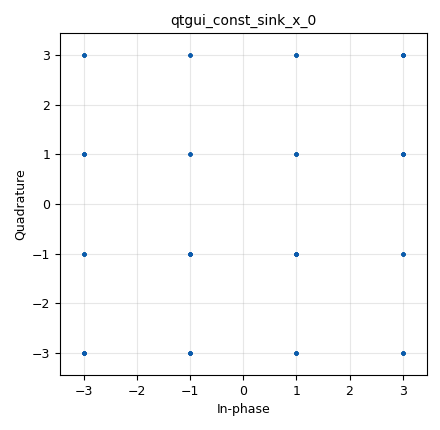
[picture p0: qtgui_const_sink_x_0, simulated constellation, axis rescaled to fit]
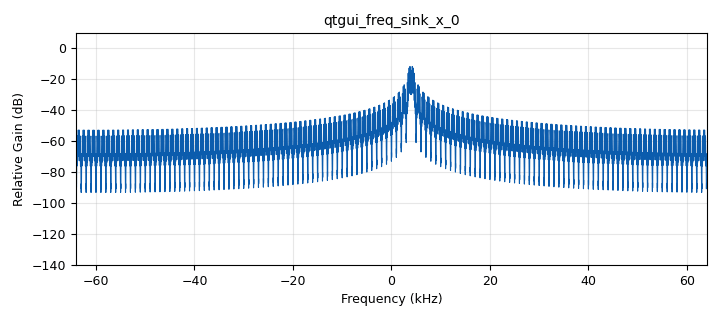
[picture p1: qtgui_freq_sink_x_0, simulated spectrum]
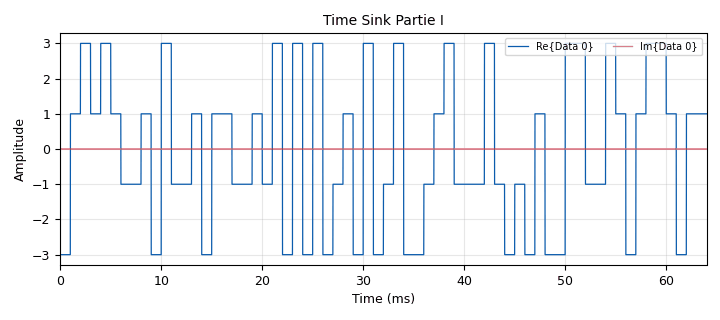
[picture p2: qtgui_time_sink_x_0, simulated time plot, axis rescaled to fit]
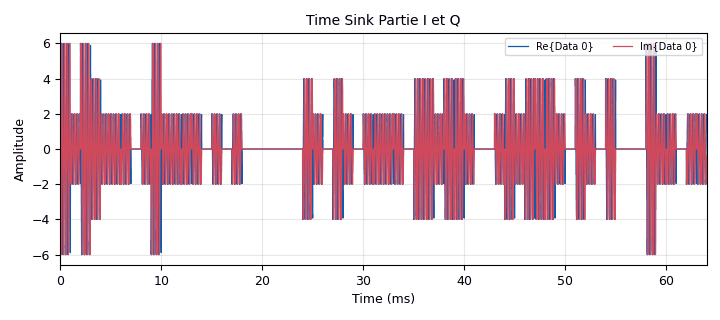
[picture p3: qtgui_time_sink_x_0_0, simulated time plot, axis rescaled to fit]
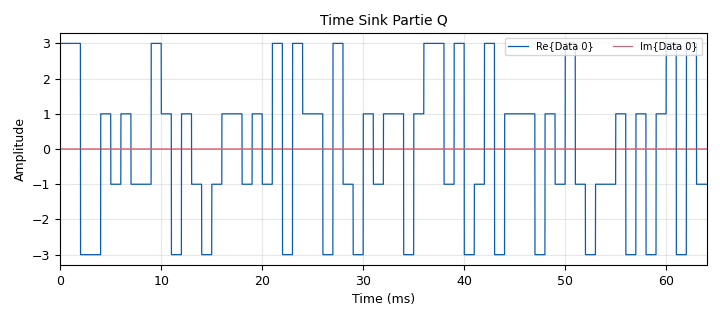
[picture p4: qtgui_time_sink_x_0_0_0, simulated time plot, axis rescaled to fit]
options:
  parameters:
    generate_options: qt_gui
    id: QPSK
    output_language: python
    title: Not titled yet
  states: {}

blocks:
- name: Fc
  id: variable
  parameters:
    value: '4000'
  states: {}
- name: Fs
  id: variable
  parameters:
    value: 4 * Fc
  states: {}
- name: samp_rate
  id: variable
  parameters:
    value: '128000'
  states: {}
- name: symbol_rate
  id: variable
  parameters:
    value: '1000'
  states: {}
- name: analog_random_source_x_0
  id: analog_random_source_x
  parameters:
    max: '2'
    min: '0'
    num_samps: '1024'
    repeat: 'True'
    type: byte
  states: {}
- name: analog_sig_source_x_0
  id: analog_sig_source_x
  parameters:
    amp: '1'
    freq: Fc
    offset: '0'
    phase: '0'
    samp_rate: samp_rate
    type: complex
    waveform: analog.GR_COS_WAVE
  states: {}
- name: analog_sig_source_x_0_0
  id: analog_sig_source_x
  parameters:
    amp: '1'
    freq: Fc
    offset: '0'
    phase: '0'
    samp_rate: samp_rate
    type: complex
    waveform: analog.GR_SIN_WAVE
  states: {}
- name: blocks_float_to_complex_0
  id: blocks_float_to_complex
  parameters: {}
  states: {}
- name: blocks_float_to_complex_1
  id: blocks_float_to_complex
  parameters: {}
  states: {}
- name: blocks_float_to_complex_1_0
  id: blocks_float_to_complex
  parameters: {}
  states: {}
- name: blocks_multiply_xx_1
  id: blocks_multiply_xx
  parameters:
    type: complex
  states: {}
- name: blocks_multiply_xx_1_0
  id: blocks_multiply_xx
  parameters:
    type: complex
  states: {}
- name: blocks_pack_k_bits_bb_0
  id: blocks_pack_k_bits_bb
  parameters:
    k: '4'
  states: {}
- name: blocks_repeat_0_0
  id: blocks_repeat
  parameters:
    interp: int(samp_rate/symbol_rate)
    type: complex
  states: {}
- name: blocks_repeat_0_0_3
  id: blocks_repeat
  parameters:
    interp: int(samp_rate/symbol_rate)
    type: complex
  states: {}
- name: blocks_sub_xx_0
  id: blocks_sub_xx
  parameters:
    type: complex
  states: {}
- name: blocks_throttle2_0
  id: blocks_throttle2
  parameters:
    samples_per_second: samp_rate
    type: complex
  states: {}
- name: epy_block_1
  id: epy_block
  parameters:
    _source_code: |-
      import numpy as np
      from gnuradio import gr

      class blk(gr.sync_block):
          def __init__(self):
              gr.sync_block.__init__(
                  self,
                  name='Mapping IQ',
                  in_sig=[np.uint8],
                  out_sig=[np.float32, np.float32]
              )
              # index 2 bits -> niveau (Gray : 00->-3, 01->-1, 11->+1, 10->+3)
              self.levels = np.array([-3, -1, 3, 1], dtype=np.float32)

          def work(self, input_items, output_items):
              x = input_items[0]
              n = min(len(x), len(output_items[0]))
              output_items[0][:n] = self.levels[(x[:n] >> 2) & 0b11]   # I : groupe de gauche
              output_items[1][:n] = self.levels[x[:n] & 0b11]          # Q : groupe de droite
              return n
  states: {}
- name: note_0
  id: note
  parameters:
    note: 4 périodes par symbole
  states: {}
- name: note_0_0
  id: note
  parameters:
    note: symbol_rate < Fc*2
  states: {}
- name: note_0_1
  id: note
  parameters:
    note: samp_rate / symbol_rate
  states: {}
- name: note_0_2
  id: note
  parameters:
    note: Fs > 2 * Fc
  states: {}
- name: qtgui_const_sink_x_0
  id: qtgui_const_sink_x
  parameters:
    grid: 'True'
    size: '1024'
    type: complex
  states: {}
- name: qtgui_freq_sink_x_0
  id: qtgui_freq_sink_x
  parameters:
    bw: samp_rate
    fc: '0'
    fftsize: '8192'
    type: complex
  states: {}
- name: qtgui_time_sink_x_0
  id: qtgui_time_sink_x
  parameters:
    name: Time Sink Partie I
    size: '8192'
    srate: samp_rate
    type: complex
  states: {}
- name: qtgui_time_sink_x_0_0
  id: qtgui_time_sink_x
  parameters:
    name: Time Sink Partie I et Q
    size: '8192'
    srate: samp_rate
    type: complex
  states: {}
- name: qtgui_time_sink_x_0_0_0
  id: qtgui_time_sink_x
  parameters:
    name: Time Sink Partie Q
    size: '8192'
    srate: samp_rate
    type: complex
  states: {}

connections:
- [analog_random_source_x_0, '0', blocks_pack_k_bits_bb_0, '0']
- [analog_sig_source_x_0, '0', blocks_multiply_xx_1, '0']
- [analog_sig_source_x_0_0, '0', blocks_multiply_xx_1_0, '1']
- [blocks_float_to_complex_0, '0', qtgui_const_sink_x_0, '0']
- [blocks_float_to_complex_1, '0', blocks_repeat_0_0, '0']
- [blocks_float_to_complex_1_0, '0', blocks_repeat_0_0_3, '0']
- [blocks_multiply_xx_1, '0', blocks_sub_xx_0, '0']
- [blocks_multiply_xx_1_0, '0', blocks_sub_xx_0, '1']
- [blocks_pack_k_bits_bb_0, '0', epy_block_1, '0']
- [blocks_repeat_0_0, '0', blocks_multiply_xx_1, '1']
- [blocks_repeat_0_0, '0', qtgui_time_sink_x_0, '0']
- [blocks_repeat_0_0_3, '0', blocks_multiply_xx_1_0, '0']
- [blocks_repeat_0_0_3, '0', qtgui_time_sink_x_0_0_0, '0']
- [blocks_sub_xx_0, '0', blocks_throttle2_0, '0']
- [blocks_throttle2_0, '0', qtgui_freq_sink_x_0, '0']
- [blocks_throttle2_0, '0', qtgui_time_sink_x_0_0, '0']
- [epy_block_1, '0', blocks_float_to_complex_0, '0']
- [epy_block_1, '0', blocks_float_to_complex_1, '0']
- [epy_block_1, '1', blocks_float_to_complex_0, '1']
- [epy_block_1, '1', blocks_float_to_complex_1_0, '0']

metadata:
  file_format: 1
  grc_version: 3.10.12.0
